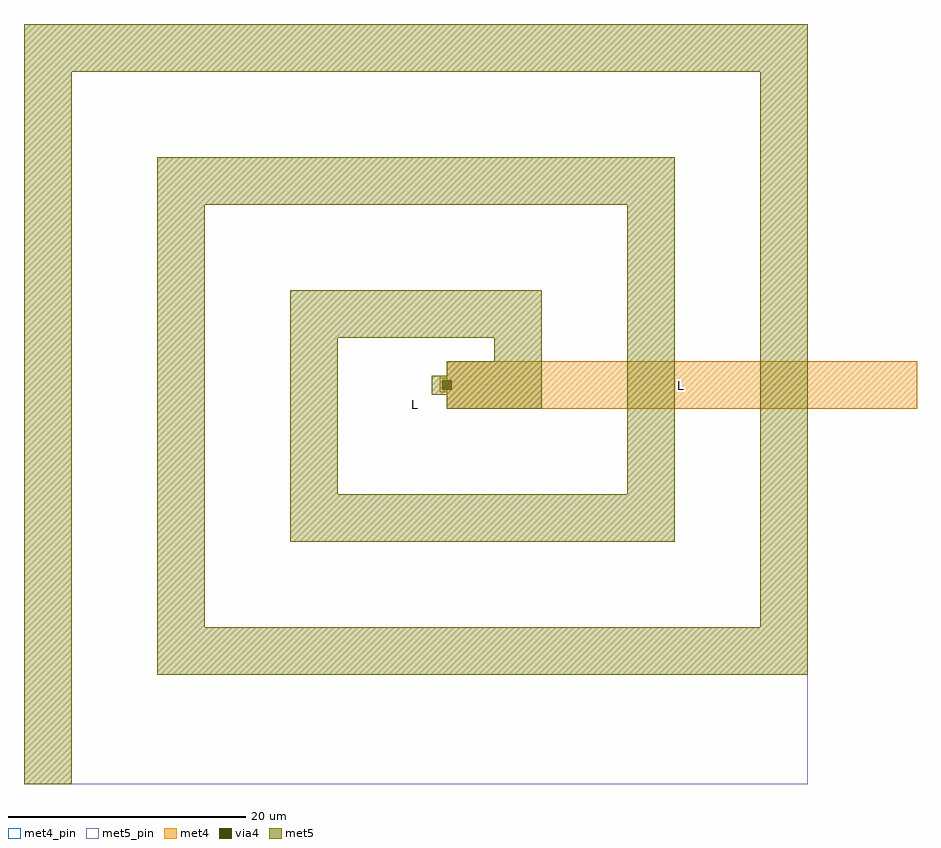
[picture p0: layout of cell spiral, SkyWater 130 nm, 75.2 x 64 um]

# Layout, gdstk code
import gdstk
lib = gdstk.Library(unit=1e-6, precision=1e-09)
def R(c, l, rs):  # rectangles x0, y0, x1, y1
    for r in rs: c.add(gdstk.rectangle(r[:2], r[2:], *l))
def P(c, l, *ps):  # polygons
    for p in ps: c.add(gdstk.Polygon(p, *l))
met4_pin = (71, 16)
met4 = (71, 20)
via4 = (71, 44)
met5_pin = (72, 16)
met5 = (72, 20)

spiral = lib.new_cell('spiral')
R(spiral, met4_pin, [(0,-2,39.6,2)])
R(spiral, met4, [(0,-2,39.6,2), (-0.59,-0.59,0.59,0.59)])
R(spiral, via4, [(-0.4,-0.4,0.4,0.4)])
R(spiral, met5_pin, [(-35.6,-33.6,30.4,30.4)])
R(spiral, met5, [(-1.25,-0.8,1.25,0.8)])
P(spiral, met5, [(-35.6,-33.6),(-35.6,30.4),(30.4,30.4),(30.4,-24.4),(-24.4,-24.4),(-24.4,19.2),(19.2,19.2),(19.2,-13.2),(-13.2,-13.2),(-13.2,8),(8,8),(8,-2),(0,-2),(0,2),(4,2),(4,4),(-9.2,4),(-9.2,-9.2),(15.2,-9.2),(15.2,15.2),(-20.4,15.2),(-20.4,-20.4),(26.4,-20.4),(26.4,26.4),(-31.6,26.4),(-31.6,-33.6)])
spiral.add(gdstk.Label('L', (-2.6,-1.6), layer=72, texttype=16))
spiral.add(gdstk.Label('L', (-2.6,-1.6), layer=72, texttype=5))
spiral.add(gdstk.Label('L', (19.8,0), layer=71, texttype=16))
spiral.add(gdstk.Label('L', (19.8,0), layer=71, texttype=5))

lib.write_gds('spiral.gds')
